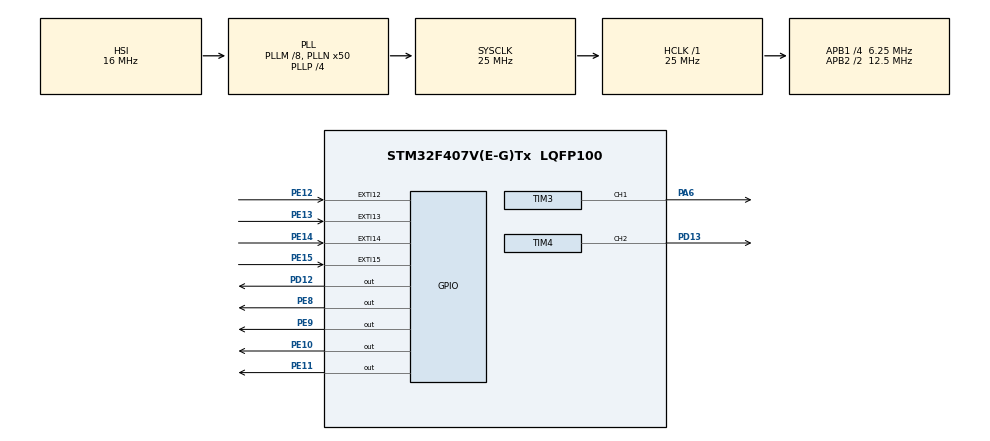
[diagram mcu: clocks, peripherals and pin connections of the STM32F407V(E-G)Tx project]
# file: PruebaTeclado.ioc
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Mcu.Family=STM32F4
Mcu.Name=STM32F407V(E-G)Tx
Mcu.Package=LQFP100
NVIC.EXTI15_10_IRQn=true\:0\:0\:false\:false\:true\:true\:true\:true
NVIC.PriorityGroup=NVIC_PRIORITYGROUP_0
PA13.Mode=Trace_Asynchronous_SW
PA13.Signal=SYS_JTMS-SWDIO
PA14.Mode=Trace_Asynchronous_SW
PA14.Signal=SYS_JTCK-SWCLK
PA6.Signal=S_TIM3_CH1
PB3.Mode=Trace_Asynchronous_SW
PB3.Signal=SYS_JTDO-SWO
PD12.Signal=GPIO_Output
PD13.Signal=S_TIM4_CH2
PE10.GPIO_ModeDefaultOutputPP=GPIO_MODE_OUTPUT_OD
PE10.GPIO_PuPd=GPIO_NOPULL
PE10.Signal=GPIO_Output
PE11.GPIO_ModeDefaultOutputPP=GPIO_MODE_OUTPUT_OD
PE11.GPIO_PuPd=GPIO_NOPULL
PE11.Signal=GPIO_Output
PE12.GPIO_ModeDefaultEXTI=GPIO_MODE_IT_FALLING
PE12.GPIO_PuPd=GPIO_PULLUP
PE12.Signal=GPXTI12
PE13.GPIO_ModeDefaultEXTI=GPIO_MODE_IT_FALLING
PE13.GPIO_PuPd=GPIO_PULLUP
PE13.Signal=GPXTI13
PE14.GPIO_ModeDefaultEXTI=GPIO_MODE_IT_FALLING
PE14.GPIO_PuPd=GPIO_PULLUP
PE14.Signal=GPXTI14
PE15.GPIO_ModeDefaultEXTI=GPIO_MODE_IT_FALLING
PE15.GPIO_PuPd=GPIO_PULLUP
PE15.Signal=GPXTI15
PE8.GPIO_ModeDefaultOutputPP=GPIO_MODE_OUTPUT_OD
PE8.GPIO_PuPd=GPIO_NOPULL
PE8.Signal=GPIO_Output
PE9.GPIO_ModeDefaultOutputPP=GPIO_MODE_OUTPUT_OD
PE9.GPIO_PuPd=GPIO_NOPULL
PE9.Signal=GPIO_Output
ProjectManager.HeapSize=0x200
ProjectManager.StackSize=0x400
ProjectManager.TargetToolchain=STM32CubeIDE
RCC.48MHZClocksFreq_Value=14285714.285714285
RCC.AHBFreq_Value=25000000
RCC.APB1CLKDivider=RCC_HCLK_DIV4
RCC.APB1Freq_Value=6250000
RCC.APB1TimFreq_Value=12500000
RCC.APB2CLKDivider=RCC_HCLK_DIV2
RCC.APB2Freq_Value=12500000
RCC.APB2TimFreq_Value=25000000
RCC.CortexFreq_Value=25000000
RCC.HCLKFreq_Value=25000000
RCC.HSE_VALUE=8000000
RCC.HSI_VALUE=16000000
RCC.LSE_VALUE=32768
RCC.PLLM=8
RCC.PLLN=50
RCC.PLLP=RCC_PLLP_DIV4
RCC.PLLQ=7
RCC.SYSCLKFreq_VALUE=25000000
RCC.SYSCLKSource=RCC_SYSCLKSOURCE_PLLCLK
RCC.VCOOutputFreq_Value=100000000
SH.S_TIM3_CH1.0=TIM3_CH1,PWM Generation1 CH1
SH.S_TIM4_CH2.0=TIM4_CH2,PWM Generation2 CH2
TIM3.AutoReloadPreload=TIM_AUTORELOAD_PRELOAD_ENABLE
TIM3.Channel-PWM\ Generation1\ CH1=TIM_CHANNEL_1
TIM4.AutoReloadPreload=TIM_AUTORELOAD_PRELOAD_ENABLE
TIM4.Channel-PWM\ Generation2\ CH2=TIM_CHANNEL_2
TIM4.Period=15
VP_TIM3_VS_ClockSourceINT.Mode=Internal
VP_TIM4_VS_ClockSourceINT.Mode=Internal
board=STM32F407G-DISC1

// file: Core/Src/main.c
/* USER CODE BEGIN Header */
/**
  ******************************************************************************
  * @file           : main.c
  * @brief          : Main program body
  ******************************************************************************
  * @attention
  *
  * Copyright (c) 2026 STMicroelectronics.
  * All rights reserved.
  *
  * This software is licensed under terms that can be found in the LICENSE file
  * in the root directory of this software component.
  * If no LICENSE file comes with this software, it is provided AS-IS.
  *
  ******************************************************************************
  */
/* USER CODE END Header */
#include "main.h"
#include "stdio.h"
#include "fsm.h"
#include "teclado.h"
#include "stm32f4xx_hal.h"
#include "imp_matriz.h"

/* USER CODE BEGIN PTD */
typedef enum{
    estado_inicio,
    estado_inicializar,   //leer SW por primera vez
    estado_turno_A,
    estado_turno_B,
    estado_esperar_soltar,
    estado_asignar_jugada,
    estado_comprobar_jugada,
    estado_gana_A,
    estado_gana_B,
    estado_empate,
    estado_fin_del_juego,
	estado_menu
}estado;

typedef enum{
    evento_presionar,   //evento_1 ~ boton presionado
    evento_jugada_invalida_de_A,
    evento_jugada_invalida_de_B,
    evento_jugada_valida,
    evento_sin_presionar,
    evento_no_gana_A,
    evento_no_gana_B,
	evento_gana_A,
	evento_gana_B,
    evento_soltar,
	evento_fin_del_juego,
	evento_nada
}evento;
/* USER CODE END PTD */

/* USER CODE BEGIN PD */
#define tcl_puerto GPIOE
#define tcl_pin_x4 GPIO_PIN_15
#define tcl_pin_x3 GPIO_PIN_14
#define tcl_pin_x2 GPIO_PIN_13
#define tcl_pin_x1 GPIO_PIN_12
#define tcl_pin_y4 GPIO_PIN_11
#define tcl_pin_y3 GPIO_PIN_10
#define tcl_pin_y2 GPIO_PIN_9
#define tcl_pin_y1 GPIO_PIN_8

/* USER CODE END PD */

TIM_HandleTypeDef htim3;
TIM_HandleTypeDef htim4;
DMA_HandleTypeDef hdma_tim4_ch2;

/* USER CODE BEGIN PV */
volatile int X = 0;
volatile int Y = 0;
volatile char jugador = 'J';
volatile evento evento_actual;
volatile estado estado_siguiente;
volatile int ocupado = 0;
volatile int Xf;
volatile int Yf;

volatile int matriz[8][4] =
{
		{0,0,0,0},
		{0,0,0,0},
		{0,0,0,0},
		{0,0,0,0},
		{0,0,0,0},
		{0,0,0,0},
		{0,0,0,0},
		{0,0,0,0}
};
/* USER CODE END PV */

void SystemClock_Config(void);
static void MX_GPIO_Init(void);
static void MX_TIM3_Init(void);
static void MX_TIM4_Init(void);
/* USER CODE BEGIN PFP */
void imprimir_matriz_actual(void);
/* USER CODE END PFP */

/* USER CODE BEGIN 0 */
int _write(int file, char *ptr , int len)
{
	for (int i=0; i<len; i++)
	{
		ITM_SendChar(*ptr++);
	}
	return len;
}
/* USER CODE END 0 */

int main(void)
{

  /* MCU Configuration--------------------------------------------------------*/

  /* Reset of all peripherals, Initializes the Flash interface and the Systick. */
  HAL_Init();

  /* USER CODE BEGIN Init */
  HAL_GPIO_WritePin(tcl_puerto,tcl_pin_y1,GPIO_PIN_RESET);
  HAL_GPIO_WritePin(tcl_puerto,tcl_pin_y2,GPIO_PIN_RESET);
  HAL_GPIO_WritePin(tcl_puerto,tcl_pin_y3,GPIO_PIN_RESET);
  HAL_GPIO_WritePin(tcl_puerto,tcl_pin_y4,GPIO_PIN_RESET);
  /* USER CODE END Init */

  /* Configure the system clock */
  SystemClock_Config();

  /* USER CODE BEGIN SysInit */
  printf(" Inicializando la consola...\n");
  evento_actual = evento_nada;
  estado_siguiente = estado_inicio;
  /* USER CODE END SysInit */

  /* Initialize all configured peripherals */
  MX_GPIO_Init();
  MX_TIM3_Init();
  MX_TIM4_Init();
  /* USER CODE BEGIN 2 */
  uint32_t mi_matriz[8][4] = {
        // Col 0     Col 1     Col 2     Col 3
        {0x000002, 0x000000, 0x000000, 0x000000},  // Fila 0 (Arriba)
        {0x000000, 0x000000, 0x000000, 0x000000},  // Fila 1
        {0x000000, 0x000000, 0x000000, 0x000000},  // Fila 2
        {0x000000, 0x000000, 0x000002, 0x000000},  // Fila 3
        {0x000000, 0x000000, 0x020000, 0x000000},  // Fila 4
        {0x000002, 0x000000, 0x020000, 0x020000},  // Fila 5
        {0x020000, 0x020000, 0x000002, 0x020000},  // Fila 6
        {0x000002, 0x000002, 0x020000, 0x000002}   // Fila 7 (Abajo)
    };
  /* USER CODE END 2 */

  /* Infinite loop */
  while (1)
  {
	  //actualizar_fsm_juego();

	  escribir(mi_matriz, &htim4);
	  HAL_Delay(500);

  }
  /* USER CODE END 3 */
}

void SystemClock_Config(void)
{
  RCC_OscInitTypeDef RCC_OscInitStruct = {0};
  RCC_ClkInitTypeDef RCC_ClkInitStruct = {0};

  /** Configure the main internal regulator output voltage
  */
  __HAL_RCC_PWR_CLK_ENABLE();
  __HAL_PWR_VOLTAGESCALING_CONFIG(PWR_REGULATOR_VOLTAGE_SCALE1);

  /** Initializes the RCC Oscillators according to the specified parameters
  * in the RCC_OscInitTypeDef structure.
  */
  RCC_OscInitStruct.OscillatorType = RCC_OSCILLATORTYPE_HSI;
  RCC_OscInitStruct.HSIState = RCC_HSI_ON;
  RCC_OscInitStruct.HSICalibrationValue = RCC_HSICALIBRATION_DEFAULT;
  RCC_OscInitStruct.PLL.PLLState = RCC_PLL_ON;
  RCC_OscInitStruct.PLL.PLLSource = RCC_PLLSOURCE_HSI;
  RCC_OscInitStruct.PLL.PLLM = 8;
  RCC_OscInitStruct.PLL.PLLN = 50;
  RCC_OscInitStruct.PLL.PLLP = RCC_PLLP_DIV4;
  RCC_OscInitStruct.PLL.PLLQ = 7;
  if (HAL_RCC_OscConfig(&RCC_OscInitStruct) != HAL_OK)
  {
    Error_Handler();
  }

  /** Initializes the CPU, AHB and APB buses clocks
  */
  RCC_ClkInitStruct.ClockType = RCC_CLOCKTYPE_HCLK|RCC_CLOCKTYPE_SYSCLK
                              |RCC_CLOCKTYPE_PCLK1|RCC_CLOCKTYPE_PCLK2;
  RCC_ClkInitStruct.SYSCLKSource = RCC_SYSCLKSOURCE_PLLCLK;
  RCC_ClkInitStruct.AHBCLKDivider = RCC_SYSCLK_DIV1;
  RCC_ClkInitStruct.APB1CLKDivider = RCC_HCLK_DIV4;
  RCC_ClkInitStruct.APB2CLKDivider = RCC_HCLK_DIV2;

  if (HAL_RCC_ClockConfig(&RCC_ClkInitStruct, FLASH_LATENCY_0) != HAL_OK)
  {
    Error_Handler();
  }
}

static void MX_TIM3_Init(void)
{

  TIM_ClockConfigTypeDef sClockSourceConfig = {0};
  TIM_MasterConfigTypeDef sMasterConfig = {0};
  TIM_OC_InitTypeDef sConfigOC = {0};

  htim3.Instance = TIM3;
  htim3.Init.Prescaler = 0;
  htim3.Init.CounterMode = TIM_COUNTERMODE_UP;
  htim3.Init.Period = 65535;
  htim3.Init.ClockDivision = TIM_CLOCKDIVISION_DIV1;
  htim3.Init.AutoReloadPreload = TIM_AUTORELOAD_PRELOAD_ENABLE;
  if (HAL_TIM_Base_Init(&htim3) != HAL_OK)
  {
    Error_Handler();
  }
  sClockSourceConfig.ClockSource = TIM_CLOCKSOURCE_INTERNAL;
  if (HAL_TIM_ConfigClockSource(&htim3, &sClockSourceConfig) != HAL_OK)
  {
    Error_Handler();
  }
  if (HAL_TIM_PWM_Init(&htim3) != HAL_OK)
  {
    Error_Handler();
  }
  sMasterConfig.MasterOutputTrigger = TIM_TRGO_RESET;
  sMasterConfig.MasterSlaveMode = TIM_MASTERSLAVEMODE_DISABLE;
  if (HAL_TIMEx_MasterConfigSynchronization(&htim3, &sMasterConfig) != HAL_OK)
  {
    Error_Handler();
  }
  sConfigOC.OCMode = TIM_OCMODE_PWM1;
  sConfigOC.Pulse = 0;
  sConfigOC.OCPolarity = TIM_OCPOLARITY_HIGH;
  sConfigOC.OCFastMode = TIM_OCFAST_DISABLE;
  if (HAL_TIM_PWM_ConfigChannel(&htim3, &sConfigOC, TIM_CHANNEL_1) != HAL_OK)
  {
    Error_Handler();
  }
  HAL_TIM_MspPostInit(&htim3);

}

static void MX_TIM4_Init(void)
{

  TIM_ClockConfigTypeDef sClockSourceConfig = {0};
  TIM_MasterConfigTypeDef sMasterConfig = {0};
  TIM_OC_InitTypeDef sConfigOC = {0};

  htim4.Instance = TIM4;
  htim4.Init.Prescaler = 0;
  htim4.Init.CounterMode = TIM_COUNTERMODE_UP;
  htim4.Init.Period = 15;
  htim4.Init.ClockDivision = TIM_CLOCKDIVISION_DIV1;
  htim4.Init.AutoReloadPreload = TIM_AUTORELOAD_PRELOAD_ENABLE;
  if (HAL_TIM_Base_Init(&htim4) != HAL_OK)
  {
    Error_Handler();
  }
  sClockSourceConfig.ClockSource = TIM_CLOCKSOURCE_INTERNAL;
  if (HAL_TIM_ConfigClockSource(&htim4, &sClockSourceConfig) != HAL_OK)
  {
    Error_Handler();
  }
  if (HAL_TIM_PWM_Init(&htim4) != HAL_OK)
  {
    Error_Handler();
  }
  sMasterConfig.MasterOutputTrigger = TIM_TRGO_RESET;
  sMasterConfig.MasterSlaveMode = TIM_MASTERSLAVEMODE_DISABLE;
  if (HAL_TIMEx_MasterConfigSynchronization(&htim4, &sMasterConfig) != HAL_OK)
  {
    Error_Handler();
  }
  sConfigOC.OCMode = TIM_OCMODE_PWM1;
  sConfigOC.Pulse = 0;
  sConfigOC.OCPolarity = TIM_OCPOLARITY_HIGH;
  sConfigOC.OCFastMode = TIM_OCFAST_DISABLE;
  if (HAL_TIM_PWM_ConfigChannel(&htim4, &sConfigOC, TIM_CHANNEL_2) != HAL_OK)
  {
    Error_Handler();
  }
  HAL_TIM_MspPostInit(&htim4);

}

static void MX_GPIO_Init(void)
{
  GPIO_InitTypeDef GPIO_InitStruct = {0};

  /* GPIO Ports Clock Enable */
  __HAL_RCC_GPIOA_CLK_ENABLE();
  __HAL_RCC_GPIOE_CLK_ENABLE();
  __HAL_RCC_GPIOD_CLK_ENABLE();
  __HAL_RCC_GPIOB_CLK_ENABLE();

  /*Configure GPIO pin Output Level */
  HAL_GPIO_WritePin(GPIOE, GPIO_PIN_8|GPIO_PIN_9|GPIO_PIN_10|GPIO_PIN_11, GPIO_PIN_RESET);

  /*Configure GPIO pin Output Level */
  HAL_GPIO_WritePin(GPIOD, GPIO_PIN_12, GPIO_PIN_RESET);

  /*Configure GPIO pins : PE8 PE9 PE10 PE11 */
  GPIO_InitStruct.Pin = GPIO_PIN_8|GPIO_PIN_9|GPIO_PIN_10|GPIO_PIN_11;
  GPIO_InitStruct.Mode = GPIO_MODE_OUTPUT_OD;
  GPIO_InitStruct.Pull = GPIO_NOPULL;
  GPIO_InitStruct.Speed = GPIO_SPEED_FREQ_LOW;
  HAL_GPIO_Init(GPIOE, &GPIO_InitStruct);

  /*Configure GPIO pins : PE12 PE13 PE14 PE15 */
  GPIO_InitStruct.Pin = GPIO_PIN_12|GPIO_PIN_13|GPIO_PIN_14|GPIO_PIN_15;
  GPIO_InitStruct.Mode = GPIO_MODE_IT_FALLING;
  GPIO_InitStruct.Pull = GPIO_PULLUP;
  HAL_GPIO_Init(GPIOE, &GPIO_InitStruct);

  /*Configure GPIO pin : PD12 */
  GPIO_InitStruct.Pin = GPIO_PIN_12;
  GPIO_InitStruct.Mode = GPIO_MODE_OUTPUT_PP;
  GPIO_InitStruct.Pull = GPIO_NOPULL;
  GPIO_InitStruct.Speed = GPIO_SPEED_FREQ_LOW;
  HAL_GPIO_Init(GPIOD, &GPIO_InitStruct);

  /* EXTI interrupt init*/
  HAL_NVIC_SetPriority(EXTI15_10_IRQn, 0, 0);
  HAL_NVIC_EnableIRQ(EXTI15_10_IRQn);

}

void Error_Handler(void)
{
  __disable_irq();
  while (1)
  {
  }
}
